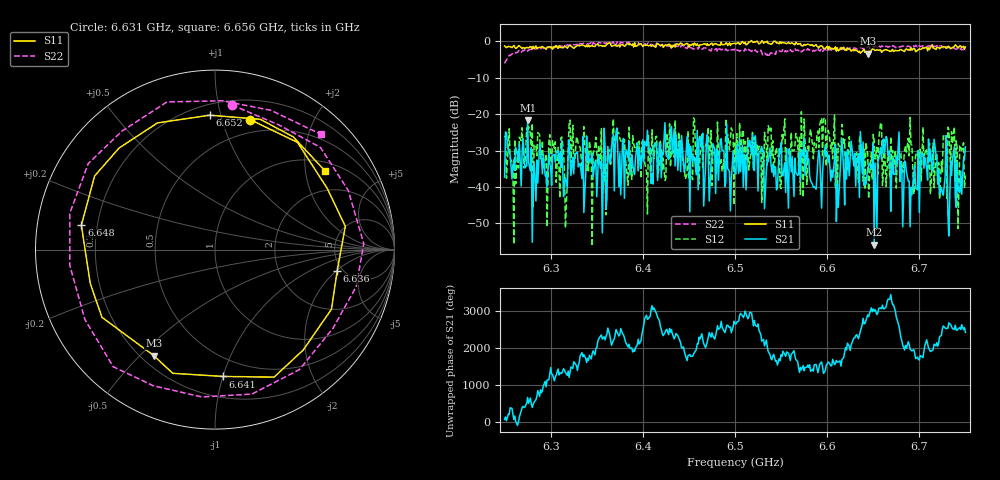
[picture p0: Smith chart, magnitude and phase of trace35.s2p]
# Hz S RI R 50
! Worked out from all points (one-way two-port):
!   401 points, 6.25 GHz to 6.75 GHz, reference 50 ohm
!   highest |S21| = -21.55 dB at 6.275 GHz (marker M1); lowest = -55.8 dB at 6.651 GHz (marker M2)
!   lowest |S11| = -3.3 dB at 6.644 GHz (marker M3), VSWR 5.29, Z = 12.5 - j27.5 ohm
!   |S11| at or under -10 dB: nowhere
!   |S22| runs from -6.0 to -0.1 dB; largest |S21 - S12| = 0.12
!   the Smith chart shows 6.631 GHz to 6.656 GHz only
!   S11 on the Smith chart (normalised r, x): 6.631 GHz: 0.37, +1.24; 6.636 GHz: 4.51, -2.04; 6.641 GHz: 0.35, -1.00; 6.648 GHz: 0.14, +0.09; 6.652 GHz: 0.27, +0.93; 6.656 GHz: 1.27, +2.58
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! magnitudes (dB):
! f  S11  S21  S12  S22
! 6.25 GHz  -1.2  -37.3  -26.3  -6.0
! 6.26 GHz  -1.1  -32.5  -55.7  -3.2
! 6.275 GHz  -1.7  -21.5  -24.9  -2.6
! 6.316 GHz  -1.4  -37.5  -51.3  -1.1
! 6.321 GHz  -1.1  -32.2  -21.6  -0.8
! 6.334 GHz  -1.0  -37.7  -34.2  -0.7
! 6.359 GHz  -1.4  -28.9  -33.8  -0.5
! 6.37 GHz  -1.1  -28.7  -28.0  -0.3
! 6.418 GHz  -1.0  -27.8  -33.9  -0.9
! 6.5 GHz  -0.5  -36.1  -27.9  -2.1
! 6.584 GHz  -0.9  -39.2  -28.2  -2.7
! 6.631 GHz  -2.5  -39.7  -34.1  -1.8
! 6.636 GHz  -3.2  -24.8  -25.8  -1.6
! 6.641 GHz  -3.0  -38.4  -40.3  -1.6
! 6.644 GHz  -3.3  -34.9  -30.8  -1.6
! 6.648 GHz  -2.4  -35.1  -30.5  -1.8
! 6.651 GHz  -2.2  -55.8  -27.2  -1.5
! 6.652 GHz  -2.5  -33.4  -32.3  -1.3
! 6.656 GHz  -2.4  -32.2  -26.8  -1.2
! 6.668 GHz  -2.7  -30.1  -37.5  -1.4
! 6.741 GHz  -1.5  -33.2  -29.0  -2.1
! 6.75 GHz  -1.5  -29.0  -36.8  -2.3
